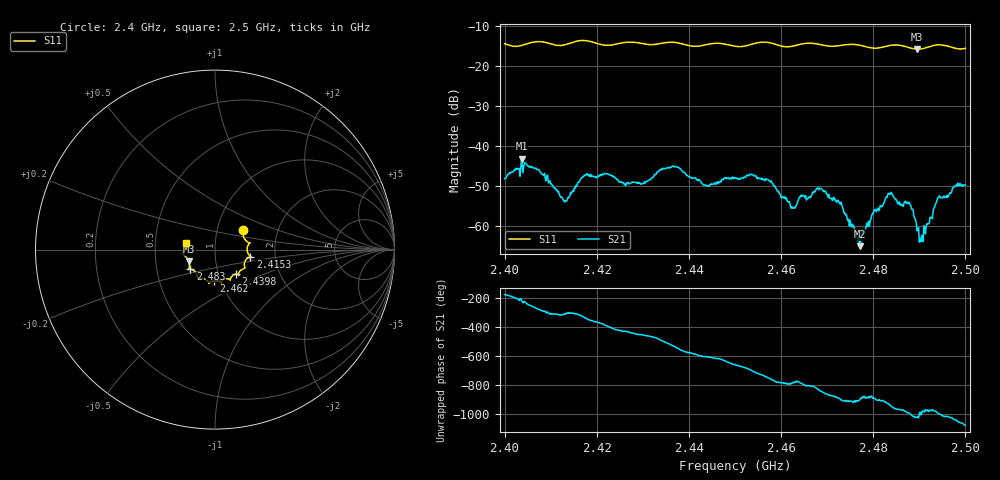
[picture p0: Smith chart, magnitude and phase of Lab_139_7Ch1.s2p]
# Hz S RI R 50
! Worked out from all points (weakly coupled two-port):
!   601 points, 2.4 GHz to 2.5 GHz, reference 50 ohm
!   highest |S21| = -43.17 dB at 2.4037 GHz (marker M1); lowest = -65.0 dB at 2.4772 GHz (marker M2)
!   lowest |S11| = -15.9 dB at 2.4895 GHz (marker M3), VSWR 1.38, Z = 36.9 - j5 ohm
!   |S11| at or under -10 dB: start of sweep to end of sweep
!   S12 and S22 are empty: the file has one direction only
!   S11 on the Smith chart (normalised r, x): 2.4 GHz: 1.33, +0.29; 2.4153 GHz: 1.48, -0.12; 2.4398 GHz: 1.21, -0.34; 2.462 GHz: 0.93, -0.33; 2.483 GHz: 0.74, -0.17; 2.5 GHz: 0.72, +0.06
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2.4e9  0.1552 0.1064  -0.00391 -0.000398  0 0  0 0
2.403667e9  0.1717 0.052  -0.00555 0.00416  0 0  0 0
2.407167e9  0.1963 0.0377  0.000368 0.0051  0 0  0 0
2.413e9  0.1814 -0.0149  0.00124 0.00159  0 0  0 0
2.415333e9  0.1962 -0.0388  0.00192 0.0023  0 0  0 0
2.416667e9  0.2017 -0.0428  0.00309 0.00248  0 0  0 0
2.429667e9  0.1564 -0.108  -0.000103 -0.00339  0 0  0 0
2.433333e9  0.1312 -0.1336  -0.00243 -0.00409  0 0  0 0
2.439833e9  0.1155 -0.1365  -0.00336 0.00255  0 0  0 0
2.45e9  0.0648 -0.1628  0.00204 0.00339  0 0  0 0
2.457333e9  0.0385 -0.1909  0.00313 -0.00203  0 0  0 0
2.462e9  -0.00522 -0.1732  0.000417 -0.00173  0 0  0 0
2.466667e9  -0.0343 -0.1875  -1.92e-06 -0.00246  0 0  0 0
2.472667e9  -0.0766 -0.1605  -0.00192 -0.000138  0 0  0 0
2.477167e9  -0.0964 -0.1518  -0.000564 -2.71e-05  0 0  0 0
2.483e9  -0.1375 -0.1095  -0.00204 0.00105  0 0  0 0
2.483333e9  -0.14 -0.1092  -0.00216 0.00141  0 0  0 0
2.488e9  -0.1425 -0.0865  0.000333 0.00185  0 0  0 0
2.4895e9  -0.1464 -0.066  0.000519 0.000709  0 0  0 0
2.4905e9  -0.1539 -0.0522  0.000117 0.000761  0 0  0 0
2.494167e9  -0.1804 -0.0226  0.000322 0.00227  0 0  0 0
2.5e9  -0.1598 0.0392  0.00325 -9.75e-05  0 0  0 0
